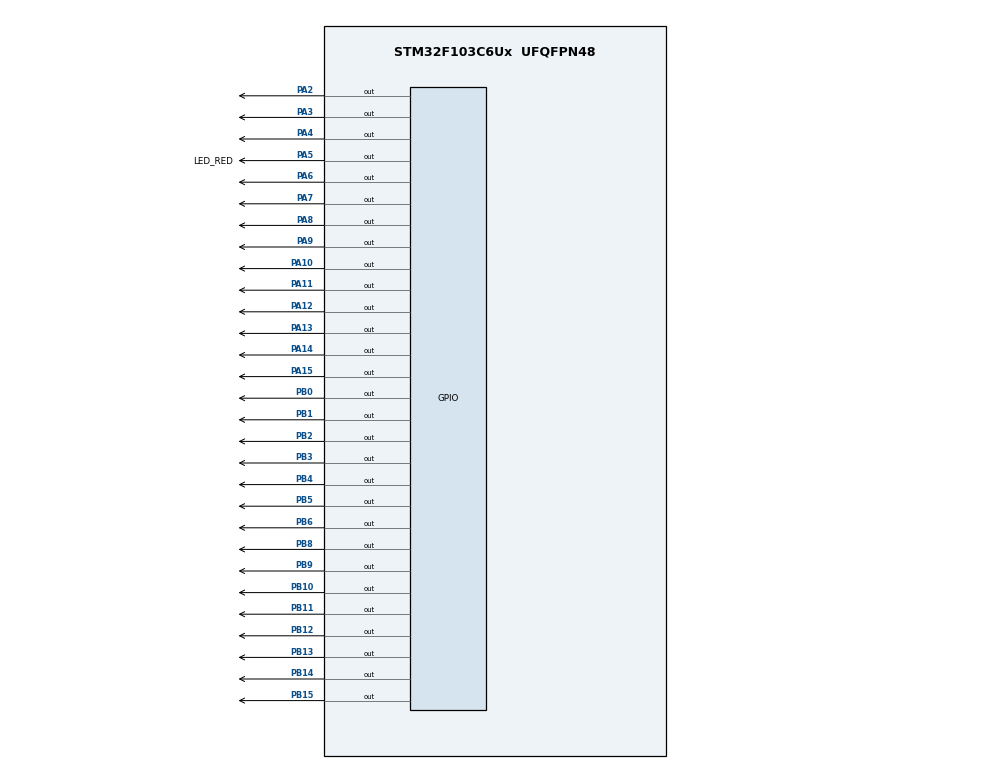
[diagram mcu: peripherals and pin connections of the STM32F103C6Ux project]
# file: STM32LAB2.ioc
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Mcu.Family=STM32F1
Mcu.Name=STM32F103C6Ux
Mcu.Package=UFQFPN48
NVIC.PriorityGroup=NVIC_PRIORITYGROUP_4
NVIC.TIM2_IRQn=true\:0\:0\:false\:false\:true\:true\:true
PA10.Signal=GPIO_Output
PA11.Signal=GPIO_Output
PA12.Signal=GPIO_Output
PA13.Signal=GPIO_Output
PA14.Signal=GPIO_Output
PA15.Signal=GPIO_Output
PA2.Signal=GPIO_Output
PA3.Signal=GPIO_Output
PA4.Signal=GPIO_Output
PA5.GPIO_Label=LED_RED
PA5.Signal=GPIO_Output
PA6.Signal=GPIO_Output
PA7.Signal=GPIO_Output
PA8.Signal=GPIO_Output
PA9.Signal=GPIO_Output
PB0.Signal=GPIO_Output
PB1.Signal=GPIO_Output
PB10.Signal=GPIO_Output
PB11.Signal=GPIO_Output
PB12.Signal=GPIO_Output
PB13.Signal=GPIO_Output
PB14.Signal=GPIO_Output
PB15.Signal=GPIO_Output
PB2.Signal=GPIO_Output
PB3.Signal=GPIO_Output
PB4.Signal=GPIO_Output
PB5.Signal=GPIO_Output
PB6.Signal=GPIO_Output
PB8.Signal=GPIO_Output
PB9.Signal=GPIO_Output
ProjectManager.HeapSize=0x200
ProjectManager.StackSize=0x400
ProjectManager.TargetToolchain=STM32CubeIDE
RCC.APB1Freq_Value=8000000
RCC.APB2Freq_Value=8000000
TIM2.Period=9
TIM2.Prescaler=7999
VP_SYS_VS_ND.Mode=No_Debug
VP_TIM2_VS_ClockSourceINT.Mode=Internal
board=custom

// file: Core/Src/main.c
/* USER CODE BEGIN Header */
/**
  ******************************************************************************
  * @file           : main.c
  * @brief          : Main program body
  ******************************************************************************
  * @attention
  *
  * <h2><center>&copy; Copyright (c) 2024 STMicroelectronics.
  * All rights reserved.</center></h2>
  *
  * This software component is licensed by ST under BSD 3-Clause license,
  * the "License"; You may not use this file except in compliance with the
  * License. You may obtain a copy of the License at:
  *                        opensource.org/licenses/BSD-3-Clause
  *
  ******************************************************************************
  */
/* USER CODE END Header */
#include "main.h"
#include "Timer.h"
#include "stdbool.h"

TIM_HandleTypeDef htim2;

void SystemClock_Config(void);
static void MX_GPIO_Init(void);
static void MX_TIM2_Init(void);

/* USER CODE BEGIN 0 */
// Array to hold the LED segment values for digits 0-9
const int MAX_LED = 4;
int index_led = 0;
int hour = 15 , minute = 8 , second = 50;
int led_buffer [4] = {1 , 2 , 3 , 4};
const int MAX_LED_MATRIX = 8;
int index_led_matrix = 0;
uint8_t matrix_buffer [8] = {
		0x3C, 0x42, 0x42, 0x7E, 0x42, 0x42, 0x42, 0x00};
uint8_t resetmatrix_buffer [8] = {
		0x3C, 0x42, 0x42, 0x7E, 0x42, 0x42, 0x42, 0x00};

const uint8_t segmentPattern[] = {
		    0b00111111, // 0
		    0b00000110, // 1
		    0b01011011, // 2
		    0b01001111, // 3
		    0b01100110, // 4
		    0b01101101, // 5
		    0b01111101, // 6
		    0b00000111, // 7
		    0b01111111, // 8
		    0b01101111  // 9
};
void clear7SEG(void){
	HAL_GPIO_WritePin(GPIOB, GPIO_PIN_0,GPIO_PIN_SET);
    HAL_GPIO_WritePin(GPIOB, GPIO_PIN_1,GPIO_PIN_SET);
    HAL_GPIO_WritePin(GPIOB, GPIO_PIN_2,GPIO_PIN_SET);
    HAL_GPIO_WritePin(GPIOB, GPIO_PIN_3,GPIO_PIN_SET);
    HAL_GPIO_WritePin(GPIOB, GPIO_PIN_4,GPIO_PIN_SET);
    HAL_GPIO_WritePin(GPIOB, GPIO_PIN_5,GPIO_PIN_SET);
    HAL_GPIO_WritePin(GPIOB, GPIO_PIN_6,GPIO_PIN_SET);
}
void display7SEG(uint8_t pattern) {
    HAL_GPIO_WritePin(GPIOB, GPIO_PIN_0, (pattern & 0x01) ? GPIO_PIN_RESET : GPIO_PIN_SET);
    HAL_GPIO_WritePin(GPIOB, GPIO_PIN_1, (pattern & 0x02) ? GPIO_PIN_RESET : GPIO_PIN_SET);
    HAL_GPIO_WritePin(GPIOB, GPIO_PIN_2, (pattern & 0x04) ? GPIO_PIN_RESET : GPIO_PIN_SET);
    HAL_GPIO_WritePin(GPIOB, GPIO_PIN_3, (pattern & 0x08) ? GPIO_PIN_RESET : GPIO_PIN_SET);
    HAL_GPIO_WritePin(GPIOB, GPIO_PIN_4, (pattern & 0x10) ? GPIO_PIN_RESET : GPIO_PIN_SET);
    HAL_GPIO_WritePin(GPIOB, GPIO_PIN_5, (pattern & 0x20) ? GPIO_PIN_RESET : GPIO_PIN_SET);
    HAL_GPIO_WritePin(GPIOB, GPIO_PIN_6, (pattern & 0x40) ? GPIO_PIN_RESET : GPIO_PIN_SET);
}

void update7SEG(int index ) {
			  clear7SEG();
			  HAL_GPIO_WritePin(GPIOA, GPIO_PIN_6, GPIO_PIN_SET);
			  HAL_GPIO_WritePin(GPIOA, GPIO_PIN_7, GPIO_PIN_SET);
			  HAL_GPIO_WritePin(GPIOA, GPIO_PIN_8, GPIO_PIN_SET);
			  HAL_GPIO_WritePin(GPIOA, GPIO_PIN_9, GPIO_PIN_SET);
	switch (index)
    {
        case 0:
            HAL_GPIO_WritePin(GPIOA, GPIO_PIN_6, GPIO_PIN_RESET);
            display7SEG(segmentPattern[led_buffer[0]]);
            break;
        case 1:
            HAL_GPIO_WritePin(GPIOA, GPIO_PIN_7, GPIO_PIN_RESET);
            display7SEG(segmentPattern[led_buffer[1]]);
            break;
        case 2:
            HAL_GPIO_WritePin(GPIOA, GPIO_PIN_8, GPIO_PIN_RESET);
            display7SEG(segmentPattern[led_buffer[2]]);
            break;
        case 3:
            HAL_GPIO_WritePin(GPIOA, GPIO_PIN_9, GPIO_PIN_RESET);
            display7SEG(segmentPattern[led_buffer[3]]);
            break;
        default:
            break;
    }
}
void updateClockBuffer ()
{
 led_buffer [0] = hour / 10;
 led_buffer [1] = hour % 10;
 led_buffer [2] = minute / 10;
 led_buffer [3] = minute % 10;
 }
void displayLEDMatrix(uint8_t row_data) {
		HAL_GPIO_WritePin(GPIOB, GPIO_PIN_8, (row_data & (1 << 0)) ? GPIO_PIN_RESET : GPIO_PIN_SET);
	    HAL_GPIO_WritePin(GPIOB, GPIO_PIN_9, (row_data & (1 << 1)) ? GPIO_PIN_RESET : GPIO_PIN_SET);
	    HAL_GPIO_WritePin(GPIOB, GPIO_PIN_10, (row_data & (1 << 2)) ? GPIO_PIN_RESET : GPIO_PIN_SET);
	    HAL_GPIO_WritePin(GPIOB, GPIO_PIN_11, (row_data & (1 << 3)) ? GPIO_PIN_RESET : GPIO_PIN_SET);
	    HAL_GPIO_WritePin(GPIOB, GPIO_PIN_12, (row_data & (1 << 4)) ? GPIO_PIN_RESET : GPIO_PIN_SET);
	    HAL_GPIO_WritePin(GPIOB, GPIO_PIN_13, (row_data & (1 << 5)) ? GPIO_PIN_RESET : GPIO_PIN_SET);
	    HAL_GPIO_WritePin(GPIOB, GPIO_PIN_14, (row_data & (1 << 6)) ? GPIO_PIN_RESET : GPIO_PIN_SET);
	    HAL_GPIO_WritePin(GPIOB, GPIO_PIN_15, (row_data & (1 << 7)) ? GPIO_PIN_RESET : GPIO_PIN_SET);
	    }
void updateLEDMatrix(int index) {
				HAL_GPIO_WritePin(GPIOA, GPIO_PIN_2,  GPIO_PIN_SET);
			    HAL_GPIO_WritePin(GPIOA, GPIO_PIN_3,  GPIO_PIN_SET);
			    HAL_GPIO_WritePin(GPIOA, GPIO_PIN_10, GPIO_PIN_SET);
			    HAL_GPIO_WritePin(GPIOA, GPIO_PIN_11, GPIO_PIN_SET);
			    HAL_GPIO_WritePin(GPIOA, GPIO_PIN_12, GPIO_PIN_SET);
			    HAL_GPIO_WritePin(GPIOA, GPIO_PIN_13, GPIO_PIN_SET);
			    HAL_GPIO_WritePin(GPIOA, GPIO_PIN_14, GPIO_PIN_SET);
			    HAL_GPIO_WritePin(GPIOA, GPIO_PIN_15, GPIO_PIN_SET);
    switch (index) {
        case 0:
            HAL_GPIO_WritePin(GPIOA, GPIO_PIN_2, GPIO_PIN_RESET);
            break;
        case 1:
            HAL_GPIO_WritePin(GPIOA, GPIO_PIN_3, GPIO_PIN_RESET);
            break;
        case 2:
            HAL_GPIO_WritePin(GPIOA, GPIO_PIN_10, GPIO_PIN_RESET);
            break;
        case 3:
            HAL_GPIO_WritePin(GPIOA, GPIO_PIN_11, GPIO_PIN_RESET);
            break;
        case 4:
            HAL_GPIO_WritePin(GPIOA, GPIO_PIN_12, GPIO_PIN_RESET);
            break;
        case 5:
            HAL_GPIO_WritePin(GPIOA, GPIO_PIN_13, GPIO_PIN_RESET);
            break;
        case 6:
            HAL_GPIO_WritePin(GPIOA, GPIO_PIN_14, GPIO_PIN_RESET);
            break;
        case 7:
            HAL_GPIO_WritePin(GPIOA, GPIO_PIN_15, GPIO_PIN_RESET);
            break;
        default:
            break;
    }
    displayLEDMatrix(matrix_buffer [index]);
}
void shiftCharRight(uint8_t *charArray) {
    for (int i = 0; i < 8; i++) {
        charArray[i]>>= 1;

    }
}
void resetA()
{
	for(int i=0; i<8;i++)
	{
		matrix_buffer[i] = resetmatrix_buffer[i];
	}
}
bool isemptycharA(uint8_t* charA)
{
	for(int i=0; i<8; i++){
		if(charA[i] != 0){
			return false;
		}
	}
		return true;
}
void displayShiftedA() {
		shiftCharRight(matrix_buffer);
		for (int i = 0; i < 8; i++) {
        displayLEDMatrix(matrix_buffer[i]);
        }
		if(isemptycharA(matrix_buffer)){
		   resetA();
		}
}

/* USER CODE END 0 */

int main(void)
{

  /* MCU Configuration--------------------------------------------------------*/

  /* Reset of all peripherals, Initializes the Flash interface and the Systick. */
  HAL_Init();

  /* Configure the system clock */
  SystemClock_Config();

  /* Initialize all configured peripherals */
  MX_GPIO_Init();
  MX_TIM2_Init();
  /* USER CODE BEGIN 2 */
  HAL_TIM_Base_Start_IT (& htim2 ) ;

  /* USER CODE END 2 */

  /* Infinite loop */
  /* USER CODE BEGIN WHILE */
  setTimer(0,250);
  setTimer(1,1000);
  setTimer(2,250);
  HAL_GPIO_WritePin (GPIOA, GPIO_PIN_4, GPIO_PIN_SET);
  setTimer(3,20);
  setTimer(4,300);
    while (1)
  {
    /* USER CODE END WHILE */
    				if(Timer_Flag[0]){
    	    	    	update7SEG(index_led);
    	    	    	index_led=(index_led+1)%MAX_LED;
    	    	    	setTimer(0,1000);
    	    	    }
    	    	    if(Timer_Flag[1])
    	    	    {
    	    	    	HAL_GPIO_TogglePin(GPIOA, GPIO_PIN_4);
    	    	    	setTimer(1,1000);
    	    	    }
    	    	    if(Timer_Flag[2])
    	    	    {
    	    	    	second++;
    	    	    		    if (second >= 60)
    	    	    		    {
    	    	    		        second = 0;
    	    	    		        minute++;
    	    	    		    }
    	    	    		    if (minute >= 60)
    	    	    		    {
    	    	    		        minute = 0;
    	    	    		        hour++;
    	    	    		    }
    	    	    		    if (hour >= 24)
    	    	    		    {
    	    	    		        hour = 0;
    	    	    		    }
    	    	    		    updateClockBuffer();
    	    	    		    setTimer(2,1000);
    	    	    }
    	    	    if(Timer_Flag[3])
    	    	    {
    	    	    	updateLEDMatrix(index_led_matrix++);
    	    	    	if(index_led_matrix >= MAX_LED_MATRIX){
    	    	    		index_led_matrix=0;
    	    	    	}
    	    	    	setTimer(3,20);
    	    	    }
    	if(Timer_Flag[4])
    	{
    		displayShiftedA();
    		setTimer(4,300);
    	}
  }
}

void SystemClock_Config(void)
{
  RCC_OscInitTypeDef RCC_OscInitStruct = {0};
  RCC_ClkInitTypeDef RCC_ClkInitStruct = {0};

  /** Initializes the RCC Oscillators according to the specified parameters
  * in the RCC_OscInitTypeDef structure.
  */
  RCC_OscInitStruct.OscillatorType = RCC_OSCILLATORTYPE_HSI;
  RCC_OscInitStruct.HSIState = RCC_HSI_ON;
  RCC_OscInitStruct.HSICalibrationValue = RCC_HSICALIBRATION_DEFAULT;
  RCC_OscInitStruct.PLL.PLLState = RCC_PLL_NONE;
  if (HAL_RCC_OscConfig(&RCC_OscInitStruct) != HAL_OK)
  {
    Error_Handler();
  }
  /** Initializes the CPU, AHB and APB buses clocks
  */
  RCC_ClkInitStruct.ClockType = RCC_CLOCKTYPE_HCLK|RCC_CLOCKTYPE_SYSCLK
                              |RCC_CLOCKTYPE_PCLK1|RCC_CLOCKTYPE_PCLK2;
  RCC_ClkInitStruct.SYSCLKSource = RCC_SYSCLKSOURCE_HSI;
  RCC_ClkInitStruct.AHBCLKDivider = RCC_SYSCLK_DIV1;
  RCC_ClkInitStruct.APB1CLKDivider = RCC_HCLK_DIV1;
  RCC_ClkInitStruct.APB2CLKDivider = RCC_HCLK_DIV1;

  if (HAL_RCC_ClockConfig(&RCC_ClkInitStruct, FLASH_LATENCY_0) != HAL_OK)
  {
    Error_Handler();
  }
}

static void MX_TIM2_Init(void)
{

  TIM_ClockConfigTypeDef sClockSourceConfig = {0};
  TIM_MasterConfigTypeDef sMasterConfig = {0};

  htim2.Instance = TIM2;
  htim2.Init.Prescaler = 7999;
  htim2.Init.CounterMode = TIM_COUNTERMODE_UP;
  htim2.Init.Period = 9;
  htim2.Init.ClockDivision = TIM_CLOCKDIVISION_DIV1;
  htim2.Init.AutoReloadPreload = TIM_AUTORELOAD_PRELOAD_DISABLE;
  if (HAL_TIM_Base_Init(&htim2) != HAL_OK)
  {
    Error_Handler();
  }
  sClockSourceConfig.ClockSource = TIM_CLOCKSOURCE_INTERNAL;
  if (HAL_TIM_ConfigClockSource(&htim2, &sClockSourceConfig) != HAL_OK)
  {
    Error_Handler();
  }
  sMasterConfig.MasterOutputTrigger = TIM_TRGO_RESET;
  sMasterConfig.MasterSlaveMode = TIM_MASTERSLAVEMODE_DISABLE;
  if (HAL_TIMEx_MasterConfigSynchronization(&htim2, &sMasterConfig) != HAL_OK)
  {
    Error_Handler();
  }

}

static void MX_GPIO_Init(void)
{
  GPIO_InitTypeDef GPIO_InitStruct = {0};

  /* GPIO Ports Clock Enable */
  __HAL_RCC_GPIOA_CLK_ENABLE();
  __HAL_RCC_GPIOB_CLK_ENABLE();

  /*Configure GPIO pin Output Level */
  HAL_GPIO_WritePin(GPIOA, GPIO_PIN_2|GPIO_PIN_3|GPIO_PIN_4|LED_RED_Pin
                          |GPIO_PIN_6|GPIO_PIN_7|GPIO_PIN_8|GPIO_PIN_9
                          |GPIO_PIN_10|GPIO_PIN_11|GPIO_PIN_12|GPIO_PIN_13
                          |GPIO_PIN_14|GPIO_PIN_15, GPIO_PIN_RESET);

  /*Configure GPIO pin Output Level */
  HAL_GPIO_WritePin(GPIOB, GPIO_PIN_0|GPIO_PIN_1|GPIO_PIN_2|GPIO_PIN_10
                          |GPIO_PIN_11|GPIO_PIN_12|GPIO_PIN_13|GPIO_PIN_14
                          |GPIO_PIN_15|GPIO_PIN_3|GPIO_PIN_4|GPIO_PIN_5
                          |GPIO_PIN_6|GPIO_PIN_8|GPIO_PIN_9, GPIO_PIN_RESET);

  /*Configure GPIO pins : PA2 PA3 PA4 LED_RED_Pin
                           PA6 PA7 PA8 PA9
                           PA10 PA11 PA12 PA13
                           PA14 PA15 */
  GPIO_InitStruct.Pin = GPIO_PIN_2|GPIO_PIN_3|GPIO_PIN_4|LED_RED_Pin
                          |GPIO_PIN_6|GPIO_PIN_7|GPIO_PIN_8|GPIO_PIN_9
                          |GPIO_PIN_10|GPIO_PIN_11|GPIO_PIN_12|GPIO_PIN_13
                          |GPIO_PIN_14|GPIO_PIN_15;
  GPIO_InitStruct.Mode = GPIO_MODE_OUTPUT_PP;
  GPIO_InitStruct.Pull = GPIO_NOPULL;
  GPIO_InitStruct.Speed = GPIO_SPEED_FREQ_LOW;
  HAL_GPIO_Init(GPIOA, &GPIO_InitStruct);

  /*Configure GPIO pins : PB0 PB1 PB2 PB10
                           PB11 PB12 PB13 PB14
                           PB15 PB3 PB4 PB5
                           PB6 PB8 PB9 */
  GPIO_InitStruct.Pin = GPIO_PIN_0|GPIO_PIN_1|GPIO_PIN_2|GPIO_PIN_10
                          |GPIO_PIN_11|GPIO_PIN_12|GPIO_PIN_13|GPIO_PIN_14
                          |GPIO_PIN_15|GPIO_PIN_3|GPIO_PIN_4|GPIO_PIN_5
                          |GPIO_PIN_6|GPIO_PIN_8|GPIO_PIN_9;
  GPIO_InitStruct.Mode = GPIO_MODE_OUTPUT_PP;
  GPIO_InitStruct.Pull = GPIO_NOPULL;
  GPIO_InitStruct.Speed = GPIO_SPEED_FREQ_LOW;
  HAL_GPIO_Init(GPIOB, &GPIO_InitStruct);

}

/* USER CODE BEGIN 4 */
void HAL_TIM_PeriodElapsedCallback ( TIM_HandleTypeDef * htim )
{
	runTimer();
}
/* USER CODE END 4 */

void Error_Handler(void)
{
  __disable_irq();
  while (1)
  {
  }
}

/************************ (C) COPYRIGHT STMicroelectronics *****END OF FILE****/
